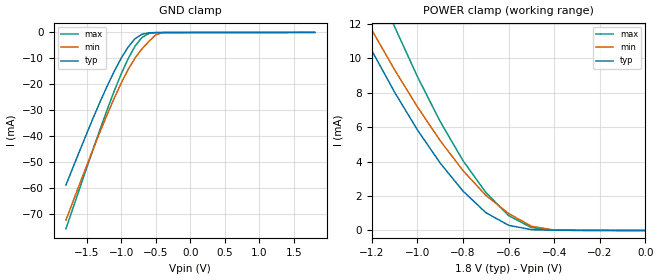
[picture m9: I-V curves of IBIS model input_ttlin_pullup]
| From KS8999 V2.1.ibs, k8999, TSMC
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|   Model input_ttlin_pullup
[Model]   input_ttlin_pullup
Model_type   Input
Polarity   Non-Inverting
Vinl =   0.8V
Vinh =   2.0V
C_comp   1.36e-12F   1.40e-12F   1.31e-12F
[Temperature Range]   25   125   0
[Voltage Range]   1.80V   1.62V   1.98V
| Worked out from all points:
|   GND clamp passes 1 mA (typ) near -0.72 V on its own axis
|   POWER clamp passes 1 mA (typ) near -0.70 V on its own axis
[POWER_clamp]
| voltage   I(typ)   I(min)   I(max)
-1.8V     28.42mA    29.42mA    37.36mA
-1.3V     13.07mA    14.11mA    18.33mA
-1.2V     10.45mA    11.65mA    14.98mA
-1.1V     8.033mA    9.335mA    11.84mA
-1V       5.842mA    7.182mA    8.939mA
-900mV    3.912mA    5.216mA    6.327mA
-800mV    2.286mA    3.477mA    4.054mA
-700mV    1.034mA    2.042mA    2.211mA
-600mV    298.6uA    985.3uA    859.9uA
-500mV    46.02uA    244.6uA    169.1uA
-400mV    11.74uA    24.55uA    20.09uA
0V        52.58pA    822.3pA    56.97pA
[GND_clamp]
| voltage   I(typ)   I(min)   I(max)
-1.8V     -58.71mA   -72.22mA   -75.49mA
-1.4V     -32.53mA   -44.47mA   -44.38mA
-1.2V     -20.45mA   -31.41mA   -29.48mA
-1.1V     -14.93mA   -25.25mA   -22.44mA
-1V       -9.88mA    -19.48mA   -15.96mA
-900mV    -5.645mA   -14.28mA   -10.11mA
-800mV    -2.42mA    -9.858mA   -5.287mA
-700mV    -709.7uA   -6.337mA   -1.976mA
-600mV    -155.1uA   -3.489mA   -427.4uA
-500mV    -64.91uA   -928.3uA   -94.97uA
-400mV    -53.12uA   -100.4uA   -58.9uA
1.8V      -1.886uA   -788.6nA   -4.286uA
